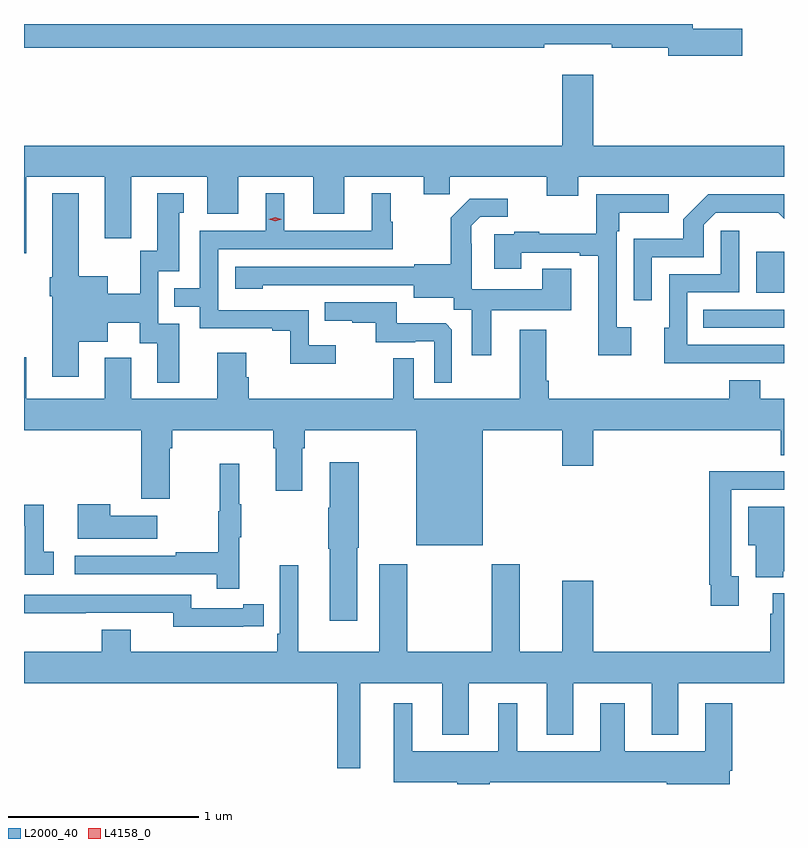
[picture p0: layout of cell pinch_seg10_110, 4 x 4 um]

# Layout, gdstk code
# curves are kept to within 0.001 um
import gdstk
lib = gdstk.Library(unit=1e-6, precision=1e-09)
def R(c, l, rs):  # rectangles x0, y0, x1, y1
    for r in rs: c.add(gdstk.rectangle(r[:2], r[2:], *l))
def P(c, l, *ps):  # polygons
    for p in ps: c.add(gdstk.Polygon(p, *l))
L2000_40 = (2000, 40)
L4158_0 = (4158, 0)

pinch_seg10_110 = lib.new_cell('pinch_seg10_110')
R(pinch_seg10_110, L2000_40, [(669.247,1296.858,669.671,1296.954), (669.524,1297.043,669.671,1297.258)])
P(pinch_seg10_110, L2000_40, [(669.451,1298.432),(669.19,1298.432),(669.19,1298.457),(665.671,1298.457),(665.671,1298.332),(668.408,1298.332),(668.408,1298.351),(668.764,1298.351),(668.764,1298.332),(669.062,1298.332),(669.062,1298.29),(669.451,1298.29)],
  [(665.683,1297.652),(666.095,1297.652),(666.095,1297.329),(666.235,1297.329),(666.235,1297.652),(666.635,1297.652),(666.635,1297.458),(666.799,1297.458),(666.799,1297.652),(667.193,1297.652),(667.193,1297.458),(667.357,1297.458),(667.357,1297.652),(667.775,1297.652),(667.775,1297.562),(667.913,1297.562),(667.913,1297.652),(668.423,1297.652),(668.423,1297.553),(668.587,1297.553),(668.587,1297.652),(669.671,1297.652),(669.671,1297.816),(668.668,1297.816),(668.668,1298.191),(668.504,1298.191),(668.504,1297.816),(665.671,1297.816),(665.671,1297.251),(665.683,1297.251)],
  [(666.487,1296.879),(666.378,1296.879),(666.378,1297.155),(666.487,1297.155),(666.487,1297.464),(666.511,1297.464),(666.511,1297.567),(666.371,1297.567),(666.371,1297.263),(666.282,1297.263),(666.282,1297.036),(666.112,1297.036),(666.112,1297.129),(665.959,1297.129),(665.959,1297.567),(665.819,1297.567),(665.819,1297.125),(665.807,1297.125),(665.807,1297.025),(665.819,1297.025),(665.819,1296.6),(665.959,1296.6),(665.959,1296.785),(666.112,1296.785),(666.112,1296.884),(666.281,1296.884),(666.281,1296.778),(666.371,1296.778),(666.371,1296.57),(666.487,1296.57)],
  [(667.312,1296.766),(667.17,1296.766),(667.17,1296.951),(666.693,1296.951),(666.693,1297.272),(667.612,1297.272),(667.612,1297.416),(667.6,1297.416),(667.6,1297.567),(667.502,1297.567),(667.502,1297.368),(667.042,1297.368),(667.042,1297.567),(666.944,1297.567),(666.944,1297.368),(666.597,1297.368),(666.597,1297.065),(666.463,1297.065),(666.463,1296.969),(666.597,1296.969),(666.597,1296.855),(666.977,1296.855),(666.977,1296.843),(667.072,1296.843),(667.072,1296.668),(667.312,1296.668)],
  [(668.976,1297.23),(669.249,1297.23),(669.249,1297.401),(669.312,1297.464),(669.641,1297.463),(669.671,1297.433),(669.671,1297.56),(669.272,1297.56),(669.142,1297.43),(669.142,1297.327),(668.88,1297.327),(668.88,1297.002),(668.976,1297.002)],
  [(668.866,1296.862),(668.79,1296.862),(668.79,1297.367),(668.803,1297.367),(668.803,1297.463),(669.064,1297.463),(669.064,1297.56),(668.682,1297.56),(668.682,1297.352),(668.383,1297.352),(668.383,1297.363),(668.251,1297.363),(668.251,1297.35),(668.147,1297.35),(668.147,1297.17),(668.287,1297.17),(668.287,1297.254),(668.597,1297.254),(668.597,1297.236),(668.693,1297.236),(668.693,1296.714),(668.866,1296.714)],
  [(668.131,1296.95),(668.551,1296.95),(668.551,1297.169),(668.399,1297.169),(668.399,1297.06),(668.028,1297.06),(668.028,1297.301),(668.026,1297.301),(668.026,1297.396),(668.073,1297.443),(668.218,1297.443),(668.218,1297.537),(668.017,1297.537),(667.917,1297.437),(667.917,1297.192),(667.725,1297.192),(667.725,1297.179),(666.783,1297.179),(666.783,1297.064),(666.927,1297.064),(666.927,1297.082),(667.721,1297.083),(667.721,1297.016),(667.932,1297.016),(667.932,1296.952),(668.027,1296.952),(668.027,1296.714),(668.131,1296.714)],
  [(669.259,1296.672),(669.671,1296.672),(669.671,1296.768),(669.162,1296.768),(669.162,1297.044),(669.435,1297.044),(669.435,1297.369),(669.339,1297.369),(669.339,1297.14),(669.066,1297.14),(669.066,1296.858),(669.041,1296.858),(669.041,1296.671),(669.259,1296.671)],
  [(667.923,1296.849),(667.891,1296.881),(667.633,1296.881),(667.633,1296.993),(667.255,1296.993),(667.255,1296.896),(667.399,1296.896),(667.399,1296.885),(667.523,1296.885),(667.523,1296.783),(667.73,1296.783),(667.73,1296.786),(667.83,1296.786),(667.83,1296.569),(667.923,1296.569)],
  [(668.086,1296.32),(668.504,1296.32),(668.504,1296.132),(668.668,1296.132),(668.668,1296.32),(669.653,1296.32),(669.653,1296.187),(669.671,1296.187),(669.671,1296.484),(669.547,1296.484),(669.547,1296.583),(669.383,1296.583),(669.383,1296.484),(668.432,1296.484),(668.432,1296.58),(668.419,1296.58),(668.419,1296.847),(668.279,1296.847),(668.279,1296.484),(667.722,1296.484),(667.722,1296.698),(667.614,1296.698),(667.614,1296.484),(666.854,1296.484),(666.854,1296.597),(666.841,1296.597),(666.841,1296.727),(666.689,1296.727),(666.689,1296.484),(666.235,1296.484),(666.235,1296.7),(666.095,1296.7),(666.095,1296.484),(665.683,1296.484),(665.683,1296.703),(665.671,1296.703),(665.671,1296.32),(666.287,1296.32),(666.287,1295.958),(666.439,1295.958),(666.439,1296.224),(666.452,1296.224),(666.452,1296.32),(666.983,1296.32),(666.983,1296.224),(666.995,1296.224),(666.995,1296),(667.135,1296),(667.135,1296.224),(667.148,1296.224),(667.148,1296.32),(667.736,1296.32),(667.736,1295.714),(668.086,1295.714)],
  [(667.426,1295.701),(667.434,1295.701),(667.434,1296.151),(667.28,1296.151),(667.28,1295.912),(667.273,1295.912),(667.273,1295.695),(667.28,1295.695),(667.28,1295.316),(667.426,1295.316)],
  [(666.803,1295.755),(666.814,1295.755),(666.814,1295.929),(666.803,1295.929),(666.803,1296.142),(666.7,1296.142),(666.7,1295.892),(666.693,1295.892),(666.693,1295.678),(666.469,1295.678),(666.469,1295.658),(665.937,1295.658),(665.937,1295.562),(666.685,1295.562),(666.685,1295.484),(666.803,1295.484)],
  [(669.433,1295.55),(669.393,1295.55),(669.393,1296.006),(669.671,1296.006),(669.671,1296.102),(669.569,1296.102),(669.569,1296.104),(669.277,1296.104),(669.277,1295.506),(669.285,1295.506),(669.285,1295.394),(669.433,1295.394)],
  [(666.373,1295.869),(666.125,1295.869),(666.125,1295.929),(665.954,1295.929),(665.954,1295.747),(666.373,1295.747)],
  [(665.827,1295.679),(665.774,1295.679),(665.774,1295.926),(665.671,1295.926),(665.671,1295.817),(665.676,1295.817),(665.676,1295.559),(665.827,1295.559)],
  [(669.668,1295.577),(669.671,1295.577),(669.671,1295.917),(669.482,1295.917),(669.482,1295.714),(669.521,1295.714),(669.521,1295.546),(669.668,1295.546)],
  [(667.441,1294.988),(667.871,1294.988),(667.871,1294.715),(668.011,1294.715),(668.011,1294.988),(668.423,1294.988),(668.423,1294.715),(668.563,1294.715),(668.563,1294.988),(668.975,1294.988),(668.975,1294.715),(669.115,1294.715),(669.115,1294.988),(669.671,1294.988),(669.671,1295.461),(669.611,1295.461),(669.611,1295.354),(669.599,1295.354),(669.599,1295.152),(668.668,1295.152),(668.668,1295.527),(668.504,1295.527),(668.504,1295.152),(668.281,1295.152),(668.281,1295.614),(668.134,1295.614),(668.134,1295.152),(667.689,1295.152),(667.689,1295.614),(667.541,1295.614),(667.541,1295.152),(667.114,1295.152),(667.114,1295.608),(667.017,1295.608),(667.017,1295.248),(667.004,1295.248),(667.004,1295.152),(666.232,1295.152),(666.232,1295.269),(666.08,1295.269),(666.08,1295.152),(665.671,1295.152),(665.671,1294.988),(667.32,1294.988),(667.32,1294.539),(667.441,1294.539)],
  [(666.824,1295.286),(666.932,1295.286),(666.932,1295.402),(666.824,1295.402),(666.824,1295.382),(666.552,1295.382),(666.552,1295.454),(665.671,1295.454),(665.671,1295.357),(665.996,1295.357),(665.996,1295.358),(666.456,1295.358),(666.456,1295.285),(666.824,1295.285)],
  [(668.123,1294.466),(669.053,1294.466),(669.053,1294.457),(669.385,1294.457),(669.385,1294.526),(669.398,1294.526),(669.398,1294.882),(669.257,1294.882),(669.257,1294.63),(668.833,1294.63),(668.833,1294.882),(668.705,1294.882),(668.705,1294.63),(668.266,1294.63),(668.266,1294.882),(668.168,1294.882),(668.168,1294.63),(667.714,1294.63),(667.714,1294.882),(667.616,1294.882),(667.616,1294.466),(667.952,1294.466),(667.952,1294.457),(668.123,1294.457)])
P(pinch_seg10_110, L4158_0, [(666.993,1297.42),(666.958,1297.43),(666.957,1297.43),(666.958,1297.43),(666.993,1297.44),(667.028,1297.43),(667.028,1297.43),(667.028,1297.43)])

lib.write_gds('pinch_seg10_110.gds')
